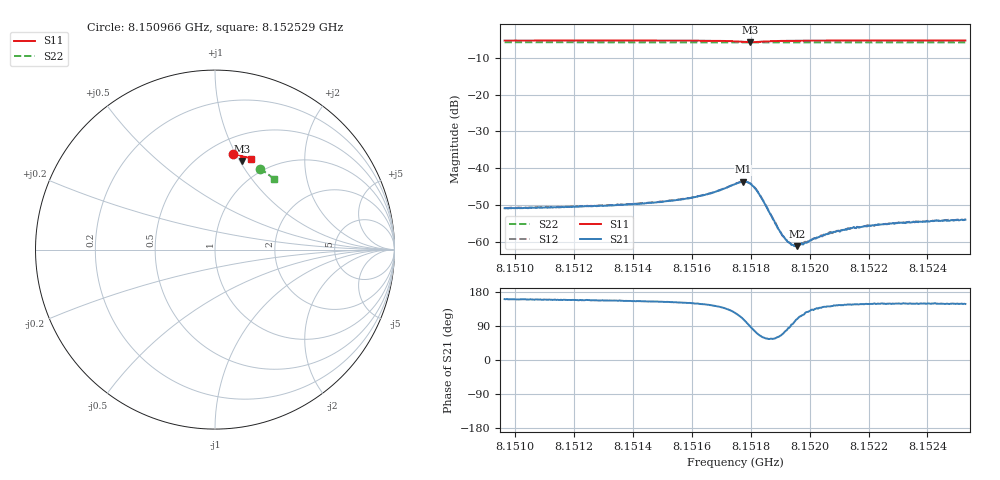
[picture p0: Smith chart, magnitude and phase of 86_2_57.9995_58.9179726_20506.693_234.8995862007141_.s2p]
#  HZ  S  RI  R  50.00
! Rohde & Schwarz Vector Network Analyzer
! Rohde-Schwarz,ZNB20-2Port,1311601062101988,3.16
! Created: UTC 3/21/2024, 12:54:06 AM
! freq[Hz]  re:S11  im:S11  re:S21  im:S21  re:S12  im:S12  re:S22  im:S22
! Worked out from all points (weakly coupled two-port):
!   401 points, 8.150966 GHz to 8.152529 GHz, reference 50 ohm
!   highest |S21| = -43.71 dB at 8.151774 GHz (marker M1); lowest = -61.2 dB at 8.151958 GHz (marker M2)
!   lowest |S11| = -5.7 dB at 8.151798 GHz (marker M3), VSWR 3.14, Z = 37.9 + j51.1 ohm
!   |S11| at or under -10 dB: nowhere
!   |S22| runs from -5.8 to -5.8 dB; largest |S21 - S12| = 0.00013
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8.1509657e9  0.1014 0.5331  -0.00269 0.000947  -0.00268 0.000992  0.2495 0.4499
8.1512275e9  0.1202 0.5296  -0.00278 0.00114  -0.0028 0.00121  0.2641 0.441
8.1514893e9  0.1399 0.5246  -0.00309 0.00154  -0.0031 0.0016  0.2782 0.4318
8.1515908e9  0.1487 0.5215  -0.00338 0.0019  -0.00339 0.00199  0.2837 0.428
8.1516377e9  0.1531 0.519  -0.00359 0.00229  -0.00359 0.0024  0.2862 0.4263
8.1516807e9  0.1576 0.5158  -0.00379 0.0029  -0.00376 0.00298  0.2884 0.4245
8.1517471e9  0.1626 0.5044  -0.00343 0.00501  -0.00341 0.00507  0.2916 0.4216
8.1517745e9  0.1589 0.4967  -0.00205 0.0062  -0.00196 0.00628  0.2929 0.4205
8.1517979e9  0.1502 0.4942  0.000104 0.00621  0.000175 0.00623  0.2937 0.4197
8.1518135e9  0.1447 0.4971  0.00126 0.00526  0.00138 0.00532  0.2944 0.4193
8.1518292e9  0.1419 0.5022  0.00181 0.00403  0.00186 0.00406  0.2949 0.4188
8.1518917e9  0.1484 0.5152  0.000756 0.00134  0.000799 0.00134  0.2985 0.4172
8.1519112e9  0.1513 0.5165  0.0004 0.00111  0.000422 0.0011  0.2997 0.4163
8.1519347e9  0.1545 0.517  2.53e-05 0.000952  2.33e-05 0.000954  0.301 0.4154
8.1519464e9  0.1559 0.5173  -0.000128 0.000876  -0.000138 0.000888  0.3016 0.415
8.1519581e9  0.1574 0.5174  -0.000274 0.000825  -0.000251 0.000883  0.3022 0.4144
8.1519854e9  0.1605 0.5174  -0.00055 0.000798  -0.000556 0.000838  0.3036 0.4134
8.1520089e9  0.1628 0.5172  -0.000737 0.000789  -0.00069 0.000819  0.3051 0.4124
8.1520636e9  0.1678 0.5165  -0.00101 0.000803  -0.000998 0.000809  0.3079 0.4104
8.1521378e9  0.1741 0.515  -0.00128 0.000834  -0.00123 0.00084  0.3115 0.4073
8.1522707e9  0.1841 0.5122  -0.0015 0.000905  -0.00152 0.000925  0.3182 0.4021
8.1525285e9  0.202 0.506  -0.00169 0.00106  -0.00169 0.00108  0.3308 0.3912
